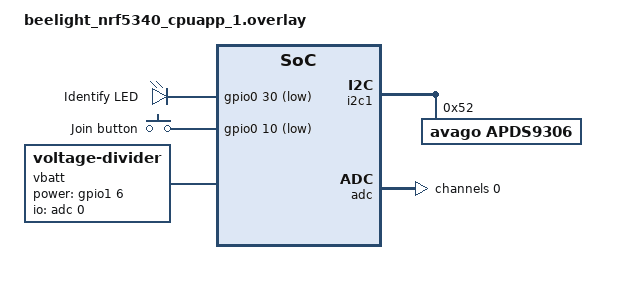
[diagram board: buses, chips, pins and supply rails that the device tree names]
/*
 * Copyright (c) 2025 Daniel Kampert
 *
 * SPDX-License-Identifier: Apache-2.0
 */

/ {
    leds {
        status = "okay";
        compatible = "gpio-leds";

        led0: led_0 {
            gpios = <&gpio0 30 GPIO_ACTIVE_LOW>;
            label = "Identify LED";
        };
    };

    buttons {
        status = "okay";
        compatible = "gpio-keys";

        button0: button_0 {
            gpios = <&gpio0 10 (GPIO_PULL_UP | GPIO_ACTIVE_LOW)>;
            label = "Join button";
            zephyr,code = <INPUT_KEY_3>;
        };
    };

    vbatt {
        status = "okay";
        compatible = "voltage-divider";
        io-channels = <&adc 0>;
        output-ohms = <2200>;
        full-ohms = <(8200 + 2200)>;
        power-gpios = <&gpio1 6 0>;
    };
};

&i2c1 {
    apds9306: apds9306@52 {
        status = "okay";
        compatible = "avago,apds9306";
        reg = <0x52>;
        gain = <1>;
        resolution = <2>;
        frequency = <2>;
    };
};

&adc {
    channel@0 {
        reg = <0>;
        zephyr,gain = "ADC_GAIN_1";
        zephyr,reference = "ADC_REF_INTERNAL";
        zephyr,acquisition-time = <ADC_ACQ_TIME_DEFAULT>;
        zephyr,input-positive = <NRF_SAADC_AIN0>;
        zephyr,resolution = <12>;
    };
};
